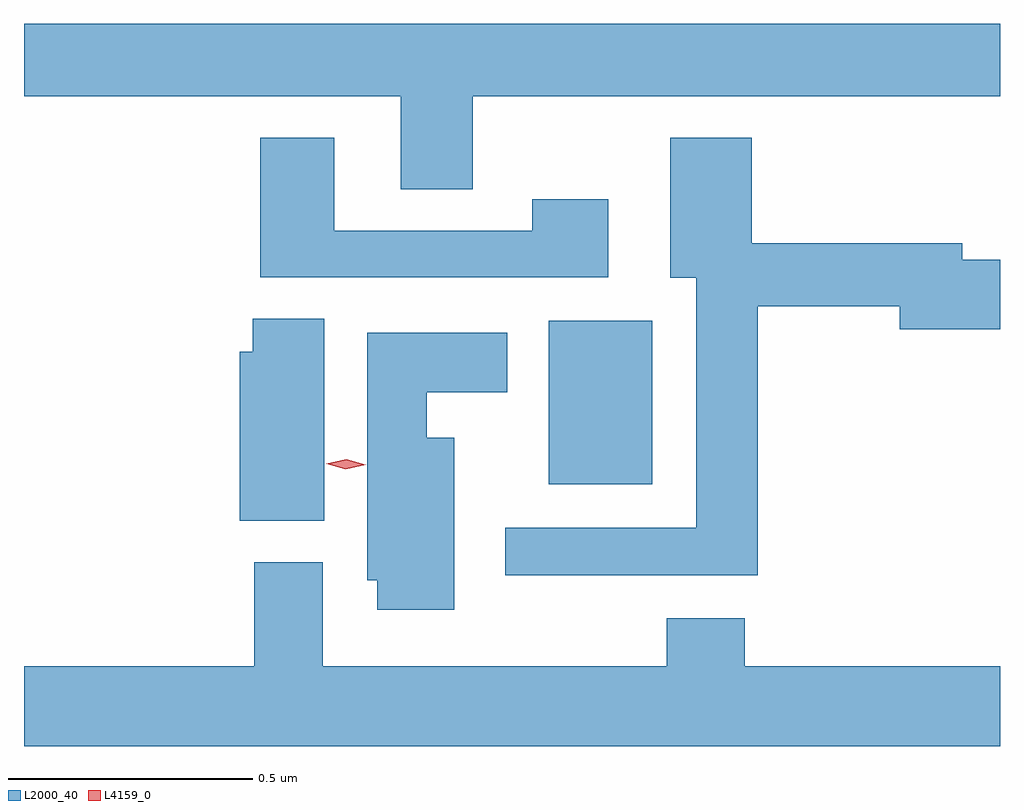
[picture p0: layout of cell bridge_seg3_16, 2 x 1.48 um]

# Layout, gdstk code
import gdstk
lib = gdstk.Library(unit=1e-6, precision=1e-09)
def R(c, l, rs):  # rectangles x0, y0, x1, y1
    for r in rs: c.add(gdstk.rectangle(r[:2], r[2:], *l))
def P(c, l, *ps):  # polygons
    for p in ps: c.add(gdstk.Polygon(p, *l))
L2000_40 = (2000, 40)
L4159_0 = (4159, 0)

bridge_seg3_16 = lib.new_cell('bridge_seg3_16')
R(bridge_seg3_16, L2000_40, [(655.022,746.741,655.234,747.076)])
P(bridge_seg3_16, L2000_40, [(654.867,747.536),(655.947,747.536),(655.947,747.685),(653.947,747.685),(653.947,747.536),(654.719,747.536),(654.719,747.346),(654.867,747.346)],
  [(655.451,747.106),(655.742,747.106),(655.742,747.059),(655.947,747.059),(655.947,747.201),(655.87,747.201),(655.87,747.235),(655.438,747.235),(655.438,747.451),(655.271,747.451),(655.271,747.164),(655.325,747.164),(655.325,746.652),(654.933,746.652),(654.933,746.555),(655.451,746.555)],
  [(655.144,747.325),(654.988,747.325),(654.988,747.261),(654.583,747.261),(654.583,747.451),(654.431,747.451),(654.431,747.165),(655.144,747.165)],
  [(654.562,747.08),(654.416,747.08),(654.416,747.013),(654.389,747.013),(654.389,746.666),(654.562,746.666)],
  [(654.829,746.836),(654.772,746.836),(654.772,746.93),(654.937,746.93),(654.937,747.052),(654.65,747.052),(654.65,746.544),(654.671,746.544),(654.671,746.484),(654.829,746.484)],
  [(655.947,746.368),(655.424,746.368),(655.424,746.467),(655.264,746.467),(655.264,746.368),(654.559,746.368),(654.559,746.581),(654.419,746.581),(654.419,746.368),(653.947,746.368),(653.947,746.204),(655.947,746.204)])
P(bridge_seg3_16, L4159_0, [(654.606,746.772),(654.566,746.783),(654.566,746.783),(654.566,746.783),(654.607,746.792),(654.647,746.781),(654.647,746.781),(654.647,746.781)])

lib.write_gds('bridge_seg3_16.gds')
